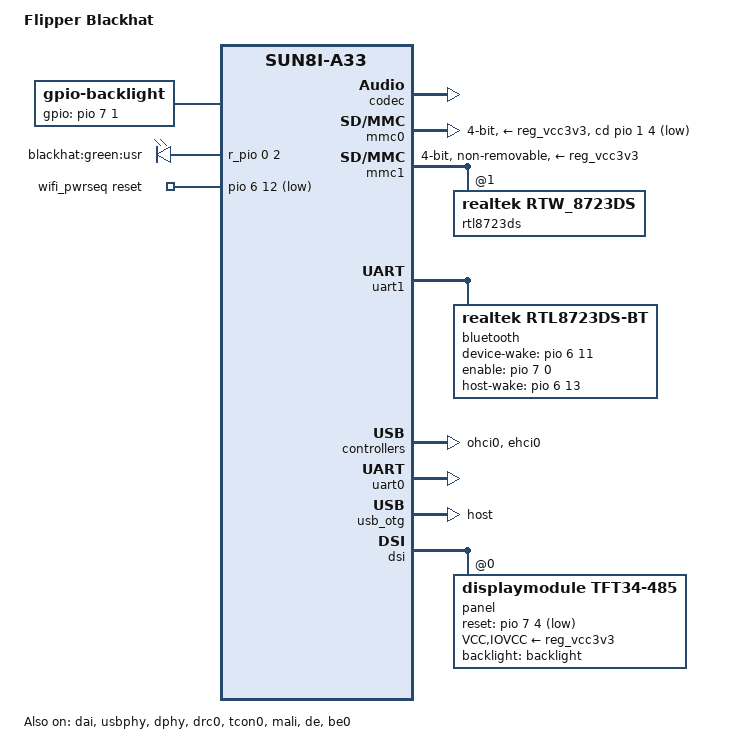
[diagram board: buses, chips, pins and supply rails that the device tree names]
/dts-v1/;
#include "allwinner/sun8i-a33.dtsi"
#include "allwinner/sunxi-common-regulators.dtsi"

#include <dt-bindings/gpio/gpio.h>
#include <dt-bindings/input/input.h>

/ {
    model = "Flipper Blackhat";
    compatible = "allwinner,sun8i-a33";

    backlight: backlight {
        compatible = "gpio-backlight";
        gpios = <&pio 7 1 GPIO_ACTIVE_HIGH>; /* PH1 */
        default-on;
    };

    aliases {
        ethernet0 = &rtl8723ds;
        serial0 = &uart0;
    };

    chosen {
        stdout-path = "serial0:115200n8";
    };

    leds {
        compatible = "gpio-leds";

        led {
            label = "blackhat:green:usr";
            gpios = <&r_pio 0 2 GPIO_ACTIVE_HIGH>; /* PL2 */
        };
    };

    wifi_pwrseq: wifi-pwrseq {
        compatible = "mmc-pwrseq-simple";
        reset-gpios = <&pio 6 12 GPIO_ACTIVE_LOW>; /* PG12 */
    };
};

&codec {
    status = "okay";
};

&dai {
    status = "okay";
};

&reg_vcc3v3 {
    status = "okay";
};

&mmc0 {
    vmmc-supply = <&reg_vcc3v3>;
    bus-width = <4>;
    cd-gpios = <&pio 1 4 GPIO_ACTIVE_LOW>; /* PB4 */
    status = "okay";
};

&mmc1 {
    vmmc-supply = <&reg_vcc3v3>;
    vqmmc-supply = <&reg_vcc3v3>;
    bus-width = <4>;
    mmc-pwrseq = <&wifi_pwrseq>;
    pinctrl-0 = <&mmc1_pg_pins>;
    pinctrl-names = "default";
    status = "okay";
    non-removable;
    no-sd;
    no-mmc;

    rtl8723ds: wifi@1 {
        compatible = "realtek,rtw_8723ds";
        reg = <1>;
    };
};

&uart1 {
    uart-has-rtscts;
    pinctrl-0 = <&uart1_pg_pins>, <&uart1_cts_rts_pg_pins>;
    pinctrl-names = "default";
    status = "okay";

    bluetooth {
        compatible = "realtek,rtl8723ds-bt";
        device-wake-gpios = <&pio 6 11 GPIO_ACTIVE_HIGH>; /* PG11 */
        enable-gpios = <&pio 7 0 GPIO_ACTIVE_HIGH>; /* PH0 */
        host-wake-gpios = <&pio 6 13 GPIO_ACTIVE_HIGH>; /* PG13 */
    };
};

&ohci0 {
    status = "okay";
};

&sound {
    /* Board level jack widgets */
    simple-audio-card,widgets = "Microphone", "Microphone Jack",
                    "Headphone", "Headphone Jack";
    /* Board level routing. First 2 routes copied from SoC level */
    simple-audio-card,routing =
        "Left DAC", "DACL",
        "Right DAC", "DACR",
        "HP", "HPCOM",
        "Headphone Jack", "HP",
        "MIC1", "Microphone Jack",
        "Microphone Jack", "MBIAS";
    status = "okay";
};

&uart0 {
    pinctrl-names = "default";
    pinctrl-0 = <&uart0_pb_pins>;
    status = "okay";
};

&usbphy {
    usb0_vbus-supply = <&reg_vcc5v0>;
    usb1_vbus-supply = <&reg_vcc5v0>;
    status = "okay";
};

&usb_otg {
    dr_mode = "host";
    status = "okay";
};

&ehci0 {
    status = "okay";
};

&pio {
    vcc-pa-supply = <&reg_vcc3v3>;
    vcc-pb-supply = <&reg_vcc3v3>;
    vcc-pc-supply = <&reg_vcc3v3>;
    vcc-pd-supply = <&reg_vcc3v3>;
    vcc-pe-supply = <&reg_vcc3v3>;
    vcc-pf-supply = <&reg_vcc3v3>;
    vcc-pg-supply = <&reg_vcc3v3>;
    vcc-ph-supply = <&reg_vcc3v3>;
};

&dphy {
    status = "okay";
};

&drc0 {
    status = "okay";
};

&tcon0 {
    status = "okay";
};


&tcon0_out {
    status = "okay";
};


&mali {
    status = "okay";
};

&de {
    status = "okay";
};


&be0 {
    status = "okay";
};

&dsi {
    vcc-dsi-supply = <&reg_vcc3v3>;
    status = "okay";
    panel: panel@0 {
        compatible = "displaymodule, tft34-485";
        reg = <0>;
        backlight = <&backlight>;
        VCC-supply = <&reg_vcc3v3>;
        IOVCC-supply = <&reg_vcc3v3>;
        pinctrl-names = "default";
        reset-gpios = <&pio 7 4 GPIO_ACTIVE_LOW>; /* PH4 */
        status = "okay";
    };
};
